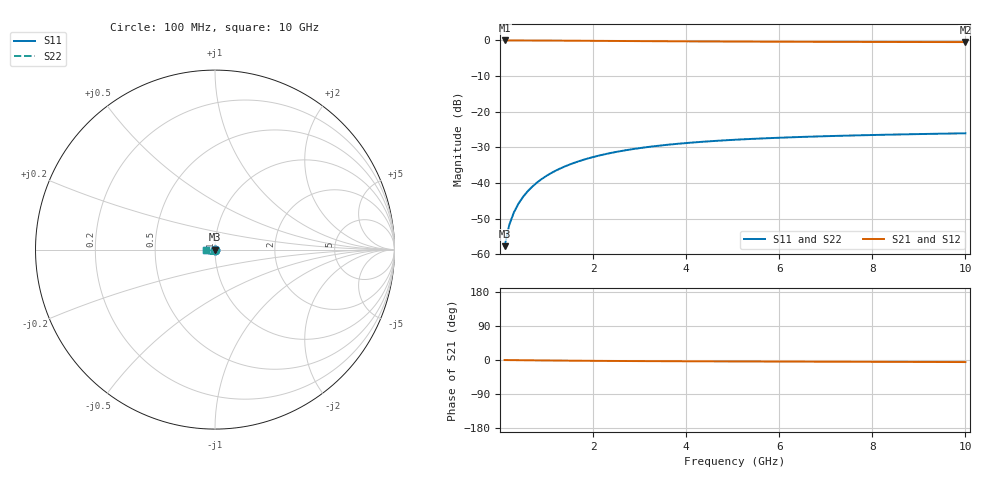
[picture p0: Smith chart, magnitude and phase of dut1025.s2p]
! Touchstone file exported from HFSS 2024.1.0
!  File:  C:/UserFiles/LocalFiles/RDL_TSV_Batchsim/temp_TSV1_1025_1780060162.aedt
!  Generated:  09:14:44 PM May 29, 2026
!  Design:  TSV1
!  Project:  temp_TSV1_1025_1780060162
!  Setup:  Setup1
!  Solution:  Sweep
! Variables:
!  dtsv = 9.72um
!  hbump = 3um
!  htsv = 86.11um
!  lrdl = 252.1521522um
!  p = 40
!  p1 = 45.34um
!  t = 500um
!  trdl = 3um
!  wrdl = 24.89489489um
# GHz S MA R 50.000000
! Terminal data exported
! Port[1] = TSV22_T1
! Port[2] = TSV22_T2
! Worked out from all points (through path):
!   100 points, 100 MHz to 10 GHz, reference 50 ohm
!   highest |S21| = 0.00 dB at 100 MHz (marker M1); lowest = -0.5 dB at 10 GHz (marker M2)
!   lowest |S11| = -57.7 dB at 100 MHz (marker M3), VSWR 1.00, Z = 50 - j0.129 ohm
!   |S11| at or under -10 dB: start of sweep to end of sweep
!   |S22| runs from -57.7 to -26.1 dB; largest |S21 - S12| = 4.4e-15
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0.1  0.0013 -84.5  0.9998 -0.1  0.9998 -0.1  0.0013 -84.5
! Gamma 0 0 0 0
! Port Impedance 50 0 50 0
0.2  0.002586 -89.5  0.9997 -0.3  0.9997 -0.3  0.002586 -89.5
0.3  0.003876 -92.3  0.9995 -0.4  0.9995 -0.4  0.003876 -92.3
0.4  0.005163 -94.5  0.9992 -0.5  0.9992 -0.5  0.005163 -94.5
0.5  0.006441 -96.5  0.9988 -0.6  0.9988 -0.6  0.006441 -96.5
0.6  0.007708 -98.4  0.9984 -0.8  0.9984 -0.8  0.007708 -98.4
0.7  0.00896 -100.2  0.998 -0.9  0.998 -0.9  0.00896 -100.2
0.8  0.01019 -102.0  0.9974 -1.0  0.9974 -1.0  0.01019 -102.0
0.9  0.01141 -103.7  0.9968 -1.1  0.9968 -1.1  0.01141 -103.7
1.1  0.01377 -107.0  0.9955 -1.3  0.9955 -1.3  0.01377 -107.0
1.4  0.01714 -111.7  0.9932 -1.6  0.9932 -1.6  0.01714 -111.7
1.6  0.01924 -114.7  0.9915 -1.8  0.9915 -1.8  0.01924 -114.7
1.8  0.02124 -117.5  0.9898 -2.0  0.9898 -2.0  0.02124 -117.5
2.1  0.02401 -121.6  0.987 -2.3  0.987 -2.3  0.02401 -121.6
2.5  0.02732 -126.7  0.9834 -2.6  0.9834 -2.6  0.02732 -126.7
2.9  0.03021 -131.3  0.9798 -2.8  0.9798 -2.8  0.03021 -131.3
3.4  0.03329 -136.6  0.9756 -3.1  0.9756 -3.1  0.03329 -136.6
4.2  0.03724 -143.8  0.9696 -3.5  0.9696 -3.5  0.03724 -143.8
5.1  0.0406 -150.7  0.9642 -3.8  0.9642 -3.8  0.0406 -150.7
6.7  0.04476 -160.5  0.9571 -4.4  0.9571 -4.4  0.04476 -160.5
8.4  0.04774 -168.8  0.9521 -4.9  0.9521 -4.9  0.04774 -168.8
10  0.04982 -175.2  0.9487 -5.4  0.9487 -5.4  0.04982 -175.2
